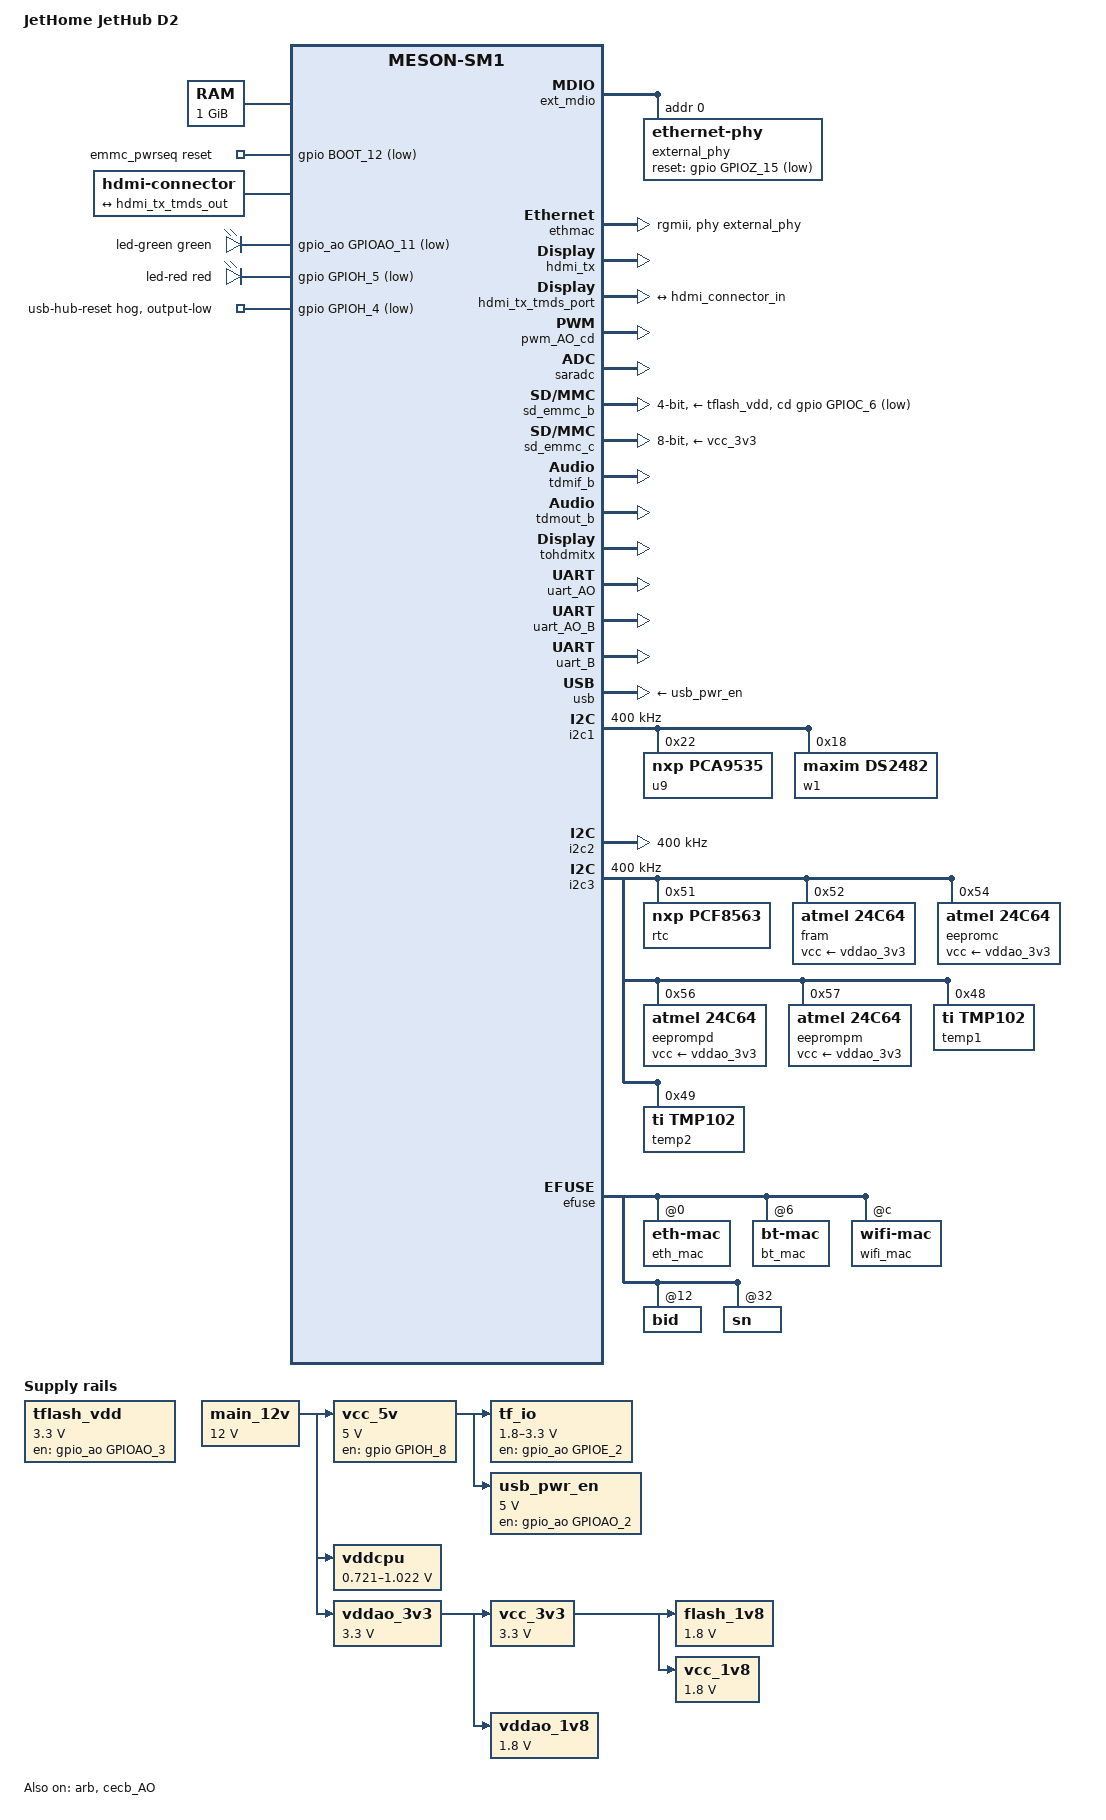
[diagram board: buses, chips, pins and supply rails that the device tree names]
// SPDX-License-Identifier: (GPL-2.0+ OR MIT)
/*
 * Copyright (c) 2024 JetHome
 * Author: Viacheslav Bocharov <adeep@lexina.in>
 */

/dts-v1/;

#include "meson-sm1.dtsi"

#include <dt-bindings/gpio/meson-g12a-gpio.h>
#include <dt-bindings/leds/common.h>
#include <dt-bindings/sound/meson-g12a-tohdmitx.h>


/ {

	compatible = "jethome,jethub-j200", "amlogic,sm1";
	model = "JetHome JetHub D2";

	aliases {
		serial0 = &uart_AO;
		ethernet0 = &ethmac;
		rtc0 = &rtc;
		rtc1 = &vrtc;
	};

	chosen {
		stdout-path = "serial0:115200n8";
	};

	memory@0 {
		device_type = "memory";
		reg = <0x0 0x0 0x0 0x40000000>;
	};

	emmc_pwrseq: emmc-pwrseq {
		compatible = "mmc-pwrseq-emmc";
		reset-gpios = <&gpio BOOT_12 GPIO_ACTIVE_LOW>;
	};

	tflash_vdd: regulator-tflash_vdd {
		compatible = "regulator-fixed";

		regulator-name = "TFLASH_VDD";
		regulator-min-microvolt = <3300000>;
		regulator-max-microvolt = <3300000>;

		gpio = <&gpio_ao GPIOAO_3 GPIO_OPEN_DRAIN>;
		enable-active-high;
		regulator-always-on;
	};

	tf_io: gpio-regulator-tf_io {
		compatible = "regulator-gpio";

		regulator-name = "TF_IO";
		regulator-min-microvolt = <1800000>;
		regulator-max-microvolt = <3300000>;
		vin-supply = <&vcc_5v>;

		enable-gpios = <&gpio_ao GPIOE_2 GPIO_OPEN_DRAIN>;
		enable-active-high;
		regulator-always-on;

		gpios = <&gpio_ao GPIOAO_6 GPIO_OPEN_SOURCE>;
		gpios-states = <0>;

		states = <3300000 0>,
			 <1800000 1>;
	};

	flash_1v8: regulator-flash_1v8 {
		compatible = "regulator-fixed";
		regulator-name = "FLASH_1V8";
		regulator-min-microvolt = <1800000>;
		regulator-max-microvolt = <1800000>;
		vin-supply = <&vcc_3v3>;
		regulator-always-on;
	};

	main_12v: regulator-main_12v {
		compatible = "regulator-fixed";
		regulator-name = "12V";
		regulator-min-microvolt = <12000000>;
		regulator-max-microvolt = <12000000>;
		regulator-always-on;
	};

	vcc_5v: regulator-vcc_5v {
		compatible = "regulator-fixed";
		regulator-name = "5V";
		regulator-min-microvolt = <5000000>;
		regulator-max-microvolt = <5000000>;
		regulator-always-on;
		vin-supply = <&main_12v>;
		gpio = <&gpio GPIOH_8 GPIO_OPEN_DRAIN>;
		enable-active-high;
	};

	vcc_1v8: regulator-vcc_1v8 {
		compatible = "regulator-fixed";
		regulator-name = "VCC_1V8";
		regulator-min-microvolt = <1800000>;
		regulator-max-microvolt = <1800000>;
		vin-supply = <&vcc_3v3>;
		regulator-always-on;
	};

	vcc_3v3: regulator-vcc_3v3 {
		compatible = "regulator-fixed";
		regulator-name = "VCC_3V3";
		regulator-min-microvolt = <3300000>;
		regulator-max-microvolt = <3300000>;
		vin-supply = <&vddao_3v3>;
		regulator-always-on;
	};

	vddcpu: regulator-vddcpu {
		/*
		 * MP8756GD Regulator.
		 */
		compatible = "pwm-regulator";

		regulator-name = "VDDCPU";
		regulator-min-microvolt = <721000>;
		regulator-max-microvolt = <1022000>;

		pwm-supply = <&main_12v>;

		pwms = <&pwm_AO_cd 1 1250 0>;
		pwm-dutycycle-range = <100 0>;

		regulator-boot-on;
		regulator-always-on;
	};

	usb_pwr_en: regulator-usb_pwr_en {
		compatible = "regulator-fixed";
		regulator-name = "USB_PWR_EN";
		regulator-min-microvolt = <5000000>;
		regulator-max-microvolt = <5000000>;
		vin-supply = <&vcc_5v>;

		/* Connected to the internal USB-Hub */
		gpio = <&gpio_ao GPIOAO_2 GPIO_ACTIVE_HIGH>;
		enable-active-high;
	};

	vddao_1v8: regulator-vddao_1v8 {
		compatible = "regulator-fixed";
		regulator-name = "VDDAO_1V8";
		regulator-min-microvolt = <1800000>;
		regulator-max-microvolt = <1800000>;
		vin-supply = <&vddao_3v3>;
		regulator-always-on;
	};

	vddao_3v3: regulator-vddao_3v3 {
		compatible = "regulator-fixed";
		regulator-name = "VDDAO_3V3";
		regulator-min-microvolt = <3300000>;
		regulator-max-microvolt = <3300000>;
		vin-supply = <&main_12v>;
		regulator-always-on;
	};

	hdmi-connector {
		compatible = "hdmi-connector";
		type = "a";

		port {
			hdmi_connector_in: endpoint {
				remote-endpoint = <&hdmi_tx_tmds_out>;
			};
		};
	};

	sound {
		compatible = "amlogic,axg-sound-card";
		audio-aux-devs = <&tdmout_b>;
		audio-routing = "TDM_B Playback", "TDMOUT_B OUT";

		assigned-clocks = <&clkc CLKID_MPLL2>,
				  <&clkc CLKID_MPLL0>,
				  <&clkc CLKID_MPLL1>;
		assigned-clock-parents = <0>, <0>, <0>;
		assigned-clock-rates = <294912000>,
				       <270950400>,
				       <393216000>;

		/* 8ch hdmi interface */
		dai-link-0 {
			sound-dai = <&tdmif_b>;
			dai-format = "i2s";
			dai-tdm-slot-tx-mask-0 = <1 1>;
			dai-tdm-slot-tx-mask-1 = <1 1>;
			dai-tdm-slot-tx-mask-2 = <1 1>;
			dai-tdm-slot-tx-mask-3 = <1 1>;
			mclk-fs = <256>;

			codec {
				sound-dai = <&tohdmitx TOHDMITX_I2S_IN_B>;
			};
		};

		/* hdmi glue */
		dai-link-1 {
			sound-dai = <&tohdmitx TOHDMITX_I2S_OUT>;

			codec {
				sound-dai = <&hdmi_tx>;
			};
		};
	};

	meson64-reboot {
		compatible = "meson64,reboot";
		sys_reset = <0x84000009>;
		sys_poweroff = <0x84000008>;

		sd-vqen = <&gpio GPIOE_2 GPIO_ACTIVE_HIGH>;
		sd-vqsw = <&gpio_ao GPIOAO_6 GPIO_ACTIVE_HIGH>;
		sd-vmmc = <&gpio_ao GPIOAO_3 GPIO_ACTIVE_HIGH>;
	};

	leds {
		compatible = "gpio-leds";

		led-green {
			color = <LED_COLOR_ID_GREEN>;
			function = LED_FUNCTION_STATUS;
			gpios = <&gpio_ao GPIOAO_11 GPIO_ACTIVE_LOW>;
			linux,default-trigger = "heartbeat";
			panic-indicator;
		};

		led-red {
			color = <LED_COLOR_ID_RED>;
			function = LED_FUNCTION_POWER;
			gpios = <&gpio GPIOH_5 GPIO_ACTIVE_LOW>;
			default-state = "off";
		};

	};

	sound {
		model = "JETHUB-D2";
	};

};

&arb {
	status = "okay";
};

&cec_AO {
	pinctrl-0 = <&cec_ao_a_h_pins>;
	pinctrl-names = "default";
	status = "disabled";
	hdmi-phandle = <&hdmi_tx>;
};

&cecb_AO {
	pinctrl-0 = <&cec_ao_b_h_pins>;
	pinctrl-names = "default";
	status = "okay";
	hdmi-phandle = <&hdmi_tx>;
};

&clkc_audio {
	status = "okay";
};

&cpu0 {
	cpu-supply = <&vddcpu>;
	operating-points-v2 = <&cpu_opp_table>;
	clocks = <&clkc CLKID_CPU_CLK>;
	clock-latency = <50000>;
};

&cpu1 {
	cpu-supply = <&vddcpu>;
	operating-points-v2 = <&cpu_opp_table>;
	clocks = <&clkc CLKID_CPU1_CLK>;
	clock-latency = <50000>;
};

&cpu2 {
	cpu-supply = <&vddcpu>;
	operating-points-v2 = <&cpu_opp_table>;
	clocks = <&clkc CLKID_CPU2_CLK>;
	clock-latency = <50000>;
};

&cpu3 {
	cpu-supply = <&vddcpu>;
	operating-points-v2 = <&cpu_opp_table>;
	clocks = <&clkc CLKID_CPU3_CLK>;
	clock-latency = <50000>;
};

&ext_mdio {
	external_phy: ethernet-phy@0 {
		/* Realtek RTL8211F (0x001cc916) */
		reg = <0>;
		max-speed = <1000>;

		reset-assert-us = <10000>;
		reset-deassert-us = <80000>;
		reset-gpios = <&gpio GPIOZ_15 (GPIO_ACTIVE_LOW | GPIO_OPEN_DRAIN)>;

		interrupt-parent = <&gpio_intc>;
		/* MAC_INTR on GPIOZ_14 */
		interrupts = <IRQID_GPIOZ_14 IRQ_TYPE_LEVEL_LOW>;
	};
};

&ethmac {
	pinctrl-0 = <&eth_pins>, <&eth_rgmii_pins>;
	pinctrl-names = "default";
	status = "okay";
	phy-mode = "rgmii";
	phy-handle = <&external_phy>;
	amlogic,tx-delay-ns = <2>;
};

&gpio {
	gpio-line-names =
		/* GPIOZ */
		"", "", "", "", "", "", "", "",
		"", "", "", "", "", "", "", "",
		/* GPIOH */
		"HDMITX_SDA", /* GPIOH_0 */
		"HDMITX_SCL", /* GPIOH_1 */
		"HDMITX_HPD_IN", /* GPIOH_2 */
		"AO_CEC_A", /* GPIOH_3 */
		"HUB_RESET", /* GPIOH_4 */
		"LED_RED", /* GPIOH_5 */
		"I2C_SDA_MODULES", /* GPIOH_6 */
		"I2C_SCL_MODULES", /* GPIOH_7 */
		"5V_EN", /* GPIOH_8 */
		/* BOOT */
		"", "", "", "", "", "", "", "",
		"", "", "", "", "", "", "", "",
		/* GPIOC */
		"", "", "", "", "", "", "", "",
		/* GPIOA */
		"", "", "", "", "", "", "", "",
		"", "", "", "", "", "",
		"I2C_SDA_SYSBUS", /* GPIOA_14 */
		"I2C_SCL_SYSBUS", /* GPIOA_15 */
		/* GPIOX */
		"", "", "", "", "", "", /* GPIOX_0 - GPIOX_5 */
		"RS485_TX", /* GPIOX_6 */
		"RS485_RX", /* GPIOX_7 */
		"", "", "", "", "", "", /* GPIOX_8 - GPIOX_13 */
		"", "", "", /* GPIOX_14 - GPIOX_16 */
		"I2C_SDA_LCDBUS",  /* GPIOX_17 */
		"I2C_SCL_LCDBUS",  /* GPIOX_18 */
		""; /* GPIOX_19 */
	/*
	 * WARNING: The USB Hub needs a reset signal to be turned low in
	 * order to be detected by the USB Controller. This signal should
	 * be handled by a USB specific power sequence to reset the Hub
	 * when the USB bus is powered down.
	 */
	usb-hub-hog {
		gpio-hog;
		gpios = <GPIOH_4 GPIO_ACTIVE_LOW>;
		output-low;
		line-name = "usb-hub-reset";
	};

};

&gpio_ao {
	gpio-line-names =
		/* GPIOAO */
		"CONSOLE_TX",  /* GPIOAO_0 */
		"CONSOLE_RX",  /* GPIOAO_1 */
		"USB_OTG_PWR_EN", /* GPIOAO_2 */
		"TFLASH_VDD_EN",  /* GPIOAO_3 */
		"MCU_RESET", /* GPIOAO_4 */
		"POWER_GOOD", /* GPIOAO_5 */
		"TF_3V3N_1V8_EN",  /* GPIOAO_6 */
		"GPIO_EXPANDER_INT", /* GPIOAO_7 */
		"MCU_UART_TX", /* GPIOAO_8 */
		"MCU_UART_RX", /* GPIOAO_9 */
		"BUTTON_USR", /* GPIOAO_10 */
		"LED_GREEN", /* GPIOAO_11 */
		/* GPIOE */
		"VDDEE_PWM", "VDDCPU_PWM", "TF_PWR_EN";
};

&hdmi_tx {
	status = "okay";
	pinctrl-0 = <&hdmitx_hpd_pins>, <&hdmitx_ddc_pins>;
	pinctrl-names = "default";
	hdmi-supply = <&vcc_5v>;
};

&hdmi_tx_tmds_port {
	hdmi_tx_tmds_out: endpoint {
		remote-endpoint = <&hdmi_connector_in>;
	};
};

&pwm_AO_cd {
	pinctrl-0 = <&pwm_ao_d_e_pins>;
	pinctrl-names = "default";
	clocks = <&xtal>;
	clock-names = "clkin1";
	status = "okay";
};

&saradc {
	status = "okay";
};

/* SD card */
&sd_emmc_b {
	status = "okay";
	pinctrl-0 = <&sdcard_c_pins>;
	pinctrl-1 = <&sdcard_clk_gate_c_pins>;
	pinctrl-names = "default", "clk-gate";

	bus-width = <4>;
	cap-sd-highspeed;
	max-frequency = <200000000>;
	sd-uhs-sdr12;
	sd-uhs-sdr25;
	sd-uhs-sdr50;
	sd-uhs-sdr104;
	disable-wp;

	cd-gpios = <&gpio GPIOC_6 GPIO_ACTIVE_LOW>;
	vmmc-supply = <&tflash_vdd>;
	vqmmc-supply = <&tf_io>;
};

/* eMMC */
&sd_emmc_c {
	status = "okay";
	pinctrl-0 = <&emmc_ctrl_pins>, <&emmc_data_8b_pins>, <&emmc_ds_pins>;
	pinctrl-1 = <&emmc_clk_gate_pins>;
	pinctrl-names = "default", "clk-gate";

	bus-width = <8>;
	cap-mmc-highspeed;
	mmc-ddr-1_8v;
	mmc-hs200-1_8v;
	max-frequency = <200000000>;
	disable-wp;

	mmc-pwrseq = <&emmc_pwrseq>;
	vmmc-supply = <&vcc_3v3>;
	vqmmc-supply = <&flash_1v8>;
};

&spifc {
	status = "disabled";
	pinctrl-0 = <&nor_pins>;
	pinctrl-names = "default";
	clock-frequency = <400000>;

	flash: nor-flash@0 {
		compatible = "sst,w25q256", "jedec,spi-nor";
		#address-cells = <1>;
		#size-cells = <1>;
		reg = <0>;
		spi-max-frequency = <30000000>;
	};
};

&tdmif_b {
	status = "okay";
};

&tdmout_b {
	status = "okay";
};

&tohdmitx {
	status = "okay";
};

&uart_AO {
	status = "okay";
	pinctrl-0 = <&uart_ao_a_pins>;
	pinctrl-names = "default";
};

&uart_AO_B {
	status = "okay";
	pinctrl-0 = <&uart_ao_b_8_9_pins>;
	pinctrl-names = "default";
};

&uart_B {
	status = "okay";
	pinctrl-0 = <&uart_b_pins>;
	pinctrl-names = "default";
	clock-frequency = <400000>;
};


&usb {
	status = "okay";
	vbus-supply = <&usb_pwr_en>;
};

&usb2_phy0 {
	phy-supply = <&vcc_5v>;
};


/* I2C for modules */
&i2c1 {
	status = "okay";
	pinctrl-0 = <&i2c1_sda_h6_pins>, <&i2c1_sck_h7_pins>;
	pinctrl-names = "default";
	clock-frequency = <400000>;

	/* GPIO expander */
	u9: gpio@22 {
		compatible = "nxp,pca9535";
		reg = <0x22>;
		gpio-controller;
		#gpio-cells = <2>;
		interrupt-controller;
		#interrupt-cells = <2>;
		interrupt-parent = <&gpio_intc>;
		interrupts = <IRQID_GPIOAO_7 IRQ_TYPE_LEVEL_LOW>;

		gpio-line-names =
			"RELAY_1", "RELAY_2",
			"", "",
			"UXM1_RESET", "UXM1_BOOT",
			"UXM2_RESET", "UXM2_BOOT",
			"DIN_1", "DIN_2", "DIN_3",
			"","","","","";
	};

	/* 1-wire */
	w1: onewire@18 {
		compatible = "maxim,ds2482";
		reg = <0x18>;
	};

};


/* I2C for lcd/etc */
&i2c2 {
	status = "okay";
	pinctrl-0 = <&i2c2_sda_x_pins>, <&i2c2_sck_x_pins>;
	pinctrl-names = "default";
	clock-frequency = <400000>;
};

/* I2C_EE_M3: I2C for CPU board */
&i2c3 {
	status = "okay";
	pinctrl-0 = <&i2c3_sda_a_pins>, <&i2c3_sck_a_pins>;
	pinctrl-names = "default";
	clock-frequency = <400000>;

	/* I2C for rtc */
	rtc: rtc@51 {
		status = "okay";
		compatible = "nxp,pcf8563";
		reg = <0x51>;
		wakeup-source;
	};

	/* FRAM on base board */
	fram: eeprom@52 {
		compatible = "atmel,24c64";
		reg = <0x52>;
		pagesize = <0x20>;
		label = "fram";
		address-width = <0x10>;
		vcc-supply = <&vddao_3v3>;
	};

	/* EEPROM on CPU board */
	eepromc: eeprom@54 {
		compatible = "atmel,24c64";
		reg = <0x54>;
		pagesize = <0x20>;
		label = "eepromc";
		address-width = <0x10>;
		vcc-supply = <&vddao_3v3>;
	};

	/* EEPROM on base board */
	eeprompd: eeprom@56 {
		compatible = "atmel,24c64";
		reg = <0x56>;
		pagesize = <0x20>;
		label = "eeprompd";
		address-width = <0x10>;
		vcc-supply = <&vddao_3v3>;
	};

	/* EEPROM on power module */
	eeprompm: eeprom@57 {
		compatible = "atmel,24c64";
		reg = <0x57>;
		pagesize = <0x20>;
		label = "eeprompm";
		address-width = <0x10>;
		vcc-supply = <&vddao_3v3>;
	};

	/* temperature sensors */
	temp1: tmp102@48 {
		compatible = "ti,tmp102";
		reg = <0x48>;
	};

	temp2: tmp102@49 {
		compatible = "ti,tmp102";
		reg = <0x49>;
	};

};

&efuse {
	eth_mac: eth-mac@0 {
		reg = <0x0 0x6>;
	};

	bt_mac: bt-mac@6 {
		reg = <0x6 0x6>;
	};

	wifi_mac: wifi-mac@c {
		reg = <0xc 0x6>;
	};

	bid: bid@12 {
		reg = <0x12 0x20>;
	};

	sn: sn@32 {
		reg = <0x32 0x20>;
	};
};

&cpu_thermal {
	trips {
		cpu_passive: cpu-passive {
			temperature = <70000>; /* millicelsius */
			hysteresis = <2000>; /* millicelsius */
			type = "passive";
		};

		cpu_hot: cpu-hot {
			temperature = <85000>; /* millicelsius */
			hysteresis = <2000>; /* millicelsius */
			type = "hot";
		};

		cpu_critical: cpu-critical {
			temperature = <90000>; /* millicelsius */
			hysteresis = <2000>; /* millicelsius */
			type = "critical";
		};
	};

	cooling-maps {
		map0 {
			trip = <&cpu_passive>;
			cooling-device = <&cpu0 THERMAL_NO_LIMIT THERMAL_NO_LIMIT>,
					<&cpu1 THERMAL_NO_LIMIT THERMAL_NO_LIMIT>,
					<&cpu2 THERMAL_NO_LIMIT THERMAL_NO_LIMIT>,
					<&cpu3 THERMAL_NO_LIMIT THERMAL_NO_LIMIT>;
		};

		map1 {
			trip = <&cpu_hot>;
			cooling-device = <&cpu0 THERMAL_NO_LIMIT THERMAL_NO_LIMIT>,
					<&cpu1 THERMAL_NO_LIMIT THERMAL_NO_LIMIT>,
					<&cpu2 THERMAL_NO_LIMIT THERMAL_NO_LIMIT>,
					<&cpu3 THERMAL_NO_LIMIT THERMAL_NO_LIMIT>;
		};
	};
};

&ddr_thermal {
	trips {
		ddr_passive: ddr-passive {
			temperature = <70000>; /* millicelsius */
			hysteresis = <2000>; /* millicelsius */
			type = "passive";
		};

		ddr_critical: ddr-critical {
			temperature = <85000>; /* millicelsius */
			hysteresis = <2000>; /* millicelsius */
			type = "critical";
		};
	};

};
